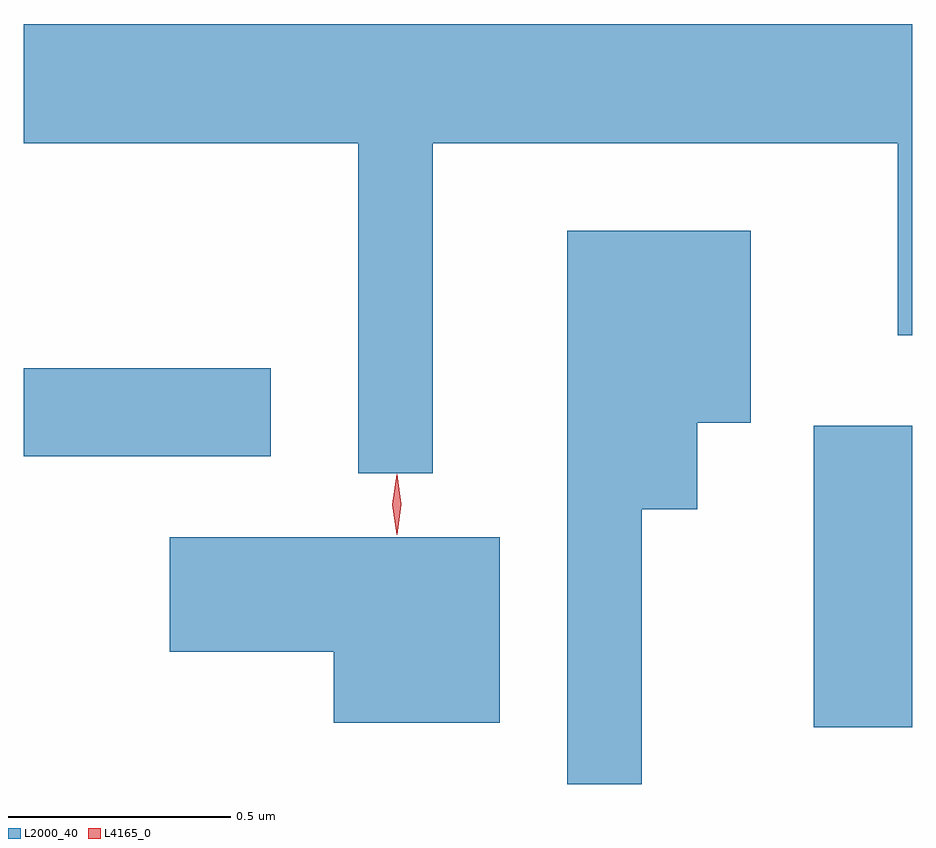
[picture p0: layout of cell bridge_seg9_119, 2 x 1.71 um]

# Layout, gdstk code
import gdstk
lib = gdstk.Library(unit=1e-6, precision=1e-09)
def R(c, l, rs):  # rectangles x0, y0, x1, y1
    for r in rs: c.add(gdstk.rectangle(r[:2], r[2:], *l))
def P(c, l, *ps):  # polygons
    for p in ps: c.add(gdstk.Polygon(p, *l))
L2000_40 = (2000, 40)
L4165_0 = (4165, 0)

bridge_seg9_119 = lib.new_cell('bridge_seg9_119')
R(bridge_seg9_119, L2000_40, [(1836.976,1966.081,1837.198,1966.759), (1835.198,1966.691,1835.754,1966.889)])
P(bridge_seg9_119, L2000_40, [(1836.119,1967.396),(1837.166,1967.396),(1837.166,1966.963),(1837.198,1966.963),(1837.198,1967.664),(1835.198,1967.664),(1835.198,1967.396),(1835.951,1967.396),(1835.951,1966.653),(1836.119,1966.653)],
  [(1836.589,1966.571),(1836.714,1966.571),(1836.714,1966.766),(1836.834,1966.766),(1836.834,1967.199),(1836.421,1967.199),(1836.421,1965.953),(1836.589,1965.953)],
  [(1836.269,1966.509),(1835.526,1966.509),(1835.526,1966.251),(1835.896,1966.251),(1835.896,1966.091),(1836.269,1966.091)])
P(bridge_seg9_119, L4165_0, [(1836.038,1966.514),(1836.028,1966.582),(1836.038,1966.65),(1836.038,1966.65),(1836.039,1966.65),(1836.048,1966.582),(1836.039,1966.514),(1836.039,1966.514)],
  [(1836.039,1966.52),(1836.038,1966.521),(1836.029,1966.584),(1836.038,1966.647),(1836.038,1966.647),(1836.039,1966.647),(1836.048,1966.584),(1836.039,1966.521)])

lib.write_gds('bridge_seg9_119.gds')
